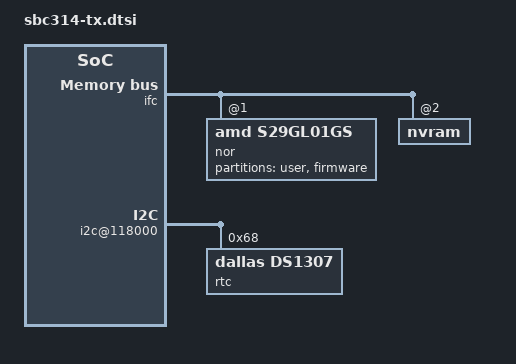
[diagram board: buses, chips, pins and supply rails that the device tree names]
/*
 * T1040RDB/T1042RDB Device Tree Source
 *
 * Copyright 2014 Freescale Semiconductor Inc.
 *
 * Redistribution and use in source and binary forms, with or without
 * modification, are permitted provided that the following conditions are met:
 *     * Redistributions of source code must retain the above copyright
 *	 notice, this list of conditions and the following disclaimer.
 *     * Redistributions in binary form must reproduce the above copyright
 *	 notice, this list of conditions and the following disclaimer in the
 *	 documentation and/or other materials provided with the distribution.
 *     * Neither the name of Freescale Semiconductor nor the
 *	 names of its contributors may be used to endorse or promote products
 *	 derived from this software without specific prior written permission.
 *
 *
 * ALTERNATIVELY, this software may be distributed under the terms of the
 * GNU General Public License ("GPL") as published by the Free Software
 * Foundation, either version 2 of that License or (at your option) any
 * later version.
 *
 * THIS SOFTWARE IS PROVIDED BY Freescale Semiconductor "AS IS" AND ANY
 * EXPRESS OR IMPLIED WARRANTIES, INCLUDING, BUT NOT LIMITED TO, THE IMPLIED
 * WARRANTIES OF MERCHANTABILITY AND FITNESS FOR A PARTICULAR PURPOSE ARE
 * DISCLAIMED. IN NO EVENT SHALL Freescale Semiconductor BE LIABLE FOR ANY
 * DIRECT, INDIRECT, INCIDENTAL, SPECIAL, EXEMPLARY, OR CONSEQUENTIAL DAMAGES
 * (INCLUDING, BUT NOT LIMITED TO, PROCUREMENT OF SUBSTITUTE GOODS OR SERVICES;
 * LOSS OF USE, DATA, OR PROFITS; OR BUSINESS INTERRUPTION) HOWEVER CAUSED AND
 * ON ANY THEORY OF LIABILITY, WHETHER IN CONTRACT, STRICT LIABILITY, OR TORT
 * (INCLUDING NEGLIGENCE OR OTHERWISE) ARISING IN ANY WAY OUT OF THE USE OF THIS
 * SOFTWARE, EVEN IF ADVISED OF THE POSSIBILITY OF SUCH DAMAGE.
 */

/ {
	reserved-memory {
		#address-cells = <2>;
		#size-cells = <2>;
		ranges;

		bman_fbpr: bman-fbpr {
			size = <0 0x1000000>;
			alignment = <0 0x1000000>;
		};
		qman_fqd: qman-fqd {
			size = <0 0x800000>;
			alignment = <0 0x800000>;
		};
		qman_pfdr: qman-pfdr {
			size = <0 0x2000000>;
			alignment = <0 0x2000000>;
		};
		pme_pdsr: pme-pdsr {
			compatible = "fsl,pme-pdsr";
			alloc-ranges = <0 0 0x10000 0>;
			size = <0 0x1000000>;
			alignment = <0 0x1000000>;
		};
		pme_sre: pme-sre {
			 compatible = "fsl,pme-sre";
			 alloc-ranges = <0 0 0x10000 0>;
			 size = <0 0xa00000>;
			 alignment = <0 0xa00000>;
		};
	};

	ifc: localbus@ffe124000 {
		reg = <0xf 0xfe124000 0 0x2000>;
		ranges = <1 0 0xf 0xe0000000 0x10000000
			  2 0 0xf 0xf2000000 0x80000>;

		nor@1,0 {
			#address-cells = <1>;
			#size-cells = <1>;
			compatible = "amd,s29gl01gs", "cfi-flash";
			reg = <0x1 0x0 0x10000000>;
			bank-width = <2>;
			device-width = <1>;

			/* the top 0xf000000 are the 2 boot areas */
			partition@0 {
				label = "user";
				reg = <0x00000000 0x0f000000>;
			};

			partition@f000000 {
				label = "firmware";
				reg = <0x0f000000 0x01000000>;
				read-only;
			};
		};

		nvram@2,10000 {
			device_type = "nvram";
			patible = "cypress,cy14b108";
			/* reserve the first 10000 for U-Boot, vxworks etc */
			reg = <0x2 0x10000 0x70000>;
		};
	};

	memory {
		device_type = "memory";
	};

	dcsr: dcsr@ffd000000 {
		ranges = <0x00000000 0xf 0xfd000000 0x01072000>;
	};

	bportals: bman-portals@ff4000000 {
		ranges = <0x0 0xf 0xf4000000 0x2000000>;
	};

	qportals: qman-portals@ff6000000 {
		#address-cells = <1>;
		ranges = <0x0 0xf 0xf6000000 0x2000000>;
	};

	soc: soc@ffe000000 {
		ranges = <0x00000000 0xf 0xfe000000 0x1000000>;
		reg = <0xf 0xfe000000 0 0x00001000>;

		spi@110000 {
		};

		i2c@118000 {
			rtc@68 {
				compatible = "dallas,ds1307";
				reg = <0x68>;
			};
		};

		i2c@118100 {
		};

	};

	pci0: pcie@ffe240000 {
		reg = <0xf 0xfe240000 0 0x10000>;
		ranges = <0x02000000 0 0xc0000000 0xc 0x00000000 0x0 0x40000000
			  0x01000000 0 0x00000000 0xf 0xf8000000 0x0 0x00010000>;
		pcie@0 {
			ranges = <0x02000000 0 0xc0000000
				  0x02000000 0 0xc0000000
				  0 0x40000000

				  0x01000000 0 0x00000000
				  0x01000000 0 0x00000000
				  0 0x00010000>;
		};
	};

	pci1: pcie@ffe250000 {
		reg = <0xf 0xfe250000 0 0x10000>;
		ranges = <0x02000000 0x0 0xc0000000 0xc 0x40000000 0x0 0x20000000
			  0x01000000 0x0 0x00000000 0xf 0xf8010000 0x0 0x00010000>;
		pcie@0 {
			ranges = <0x02000000 0 0xc0000000
				  0x02000000 0 0xc0000000
				  0 0x20000000

				  0x01000000 0 0x00000000
				  0x01000000 0 0x00000000
				  0 0x00010000>;
		};
	};
};
